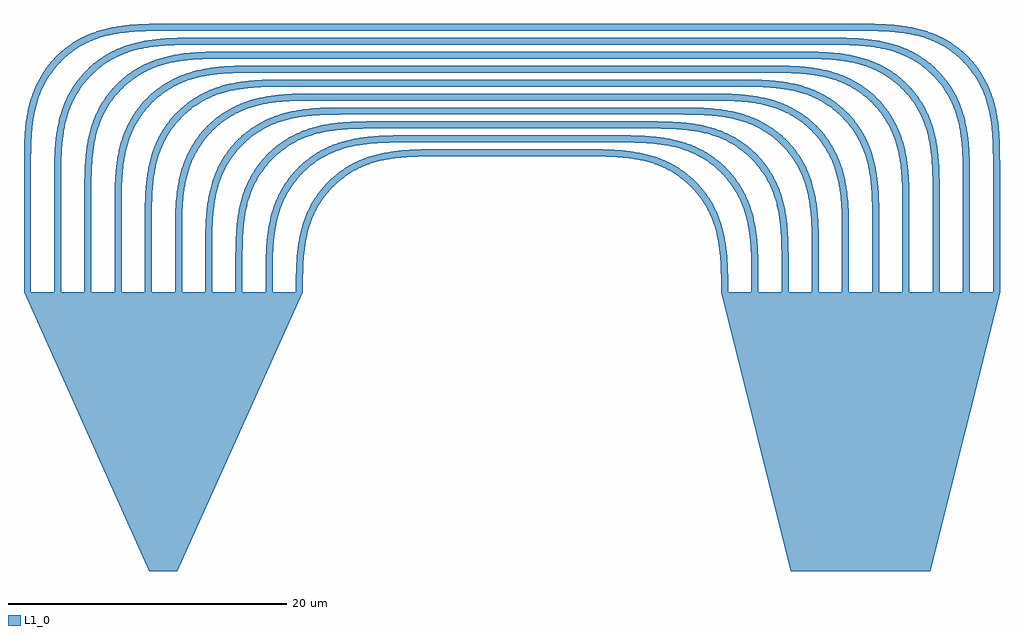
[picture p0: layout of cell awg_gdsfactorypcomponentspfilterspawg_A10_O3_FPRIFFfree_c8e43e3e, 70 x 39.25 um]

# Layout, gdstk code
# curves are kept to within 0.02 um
from math import pi, radians
import gdstk
lib = gdstk.Library(unit=1e-6, precision=1e-09)
def R(c, l, rs):  # rectangles x0, y0, x1, y1
    for r in rs: c.add(gdstk.rectangle(r[:2], r[2:], *l))
def P(c, l, *ps):  # polygons
    for p in ps: c.add(gdstk.Polygon(p, *l))
L1_0 = (1, 0)

free_propagation_region_ = lib.new_cell('free_propagation_region_gdsfactorypcomponentspfilterspa_5ff2a5ce')
P(free_propagation_region_, L1_0, [(20,-10),(0,-1),(0,1),(20,10)])

c_free_propagation_region_ = lib.new_cell('free_propagation_region_gdsfactorypcomponentspfilterspa_e953b677')
P(c_free_propagation_region_, L1_0, [(20,-10),(0,-5),(0,5),(20,10)])

bend_euler_gdsfactorypco = lib.new_cell('bend_euler_gdsfactorypcomponentspbendspbend_euler_R10_A_335c8724')
P(bend_euler_gdsfactorypco, L1_0, [(0,-0.25),(0,0.25),(1.655,0.269),(2.881,0.353),(3.952,0.52),(4.99,0.806),(5.731,1.113),(6.431,1.505),(7.079,1.976),(7.575,2.425),(8.024,2.921),(8.495,3.569),(8.887,4.269),(9.194,5.01),(9.48,6.048),(9.647,7.119),(9.731,8.345),(9.75,10),(10.25,10),(10.235,8.468),(10.158,7.205),(10.023,6.224),(9.797,5.254),(9.457,4.312),(9.066,3.545),(8.5,2.715),(7.928,2.072),(7.285,1.5),(6.455,0.934),(5.688,0.543),(4.746,0.203),(3.776,-0.023),(2.795,-0.158),(1.532,-0.235)])

straight_gdsfactorypcomp = lib.new_cell('straight_gdsfactorypcomponentspwaveguidespstraight_L9_N_09b87fdc')
R(straight_gdsfactorypcomp, L1_0, [(0,-0.25,9,0.25)])

c_straight_gdsfactorypcomp = lib.new_cell('straight_gdsfactorypcomponentspwaveguidespstraight_L49p_83262ea0')
R(c_straight_gdsfactorypcomp, L1_0, [(0,-0.25,49.5,0.25)])

c_straight_gdsfactorypcomp_ = lib.new_cell('straight_gdsfactorypcomponentspwaveguidespstraight_L8_N_5033ddb2')
R(c_straight_gdsfactorypcomp_, L1_0, [(0,-0.25,8,0.25)])

c_straight_gdsfactorypcomp__ = lib.new_cell('straight_gdsfactorypcomponentspwaveguidespstraight_L45p_bdf181a4')
R(c_straight_gdsfactorypcomp__, L1_0, [(0,-0.25,45.166,0.25)])

c_straight_gdsfactorypcomp___ = lib.new_cell('straight_gdsfactorypcomponentspwaveguidespstraight_L7_N_5487c68f')
R(c_straight_gdsfactorypcomp___, L1_0, [(0,-0.25,7,0.25)])

c_straight_gdsfactorypcomp____ = lib.new_cell('straight_gdsfactorypcomponentspwaveguidespstraight_L40p_67f97490')
R(c_straight_gdsfactorypcomp____, L1_0, [(0,-0.25,40.834,0.25)])

c_straight_gdsfactorypcomp_____ = lib.new_cell('straight_gdsfactorypcomponentspwaveguidespstraight_L6_N_702d0d58')
R(c_straight_gdsfactorypcomp_____, L1_0, [(0,-0.25,6,0.25)])

c_straight_gdsfactorypcomp______ = lib.new_cell('straight_gdsfactorypcomponentspwaveguidespstraight_L36p_da8cfc5e')
R(c_straight_gdsfactorypcomp______, L1_0, [(0,-0.25,36.5,0.25)])

c_straight_gdsfactorypcomp_______ = lib.new_cell('straight_gdsfactorypcomponentspwaveguidespstraight_L5_N_f5657628')
R(c_straight_gdsfactorypcomp_______, L1_0, [(0,-0.25,5,0.25)])

c_straight_gdsfactorypcomp________ = lib.new_cell('straight_gdsfactorypcomponentspwaveguidespstraight_L32p_807addbc')
R(c_straight_gdsfactorypcomp________, L1_0, [(0,-0.25,32.166,0.25)])

c_straight_gdsfactorypcomp_________ = lib.new_cell('straight_gdsfactorypcomponentspwaveguidespstraight_L4_N_78530ce6')
R(c_straight_gdsfactorypcomp_________, L1_0, [(0,-0.25,4,0.25)])

c_straight_gdsfactorypcomp__________ = lib.new_cell('straight_gdsfactorypcomponentspwaveguidespstraight_L27p_9630dc72')
R(c_straight_gdsfactorypcomp__________, L1_0, [(0,-0.25,27.834,0.25)])

c_straight_gdsfactorypcomp___________ = lib.new_cell('straight_gdsfactorypcomponentspwaveguidespstraight_L3_N_76e47883')
R(c_straight_gdsfactorypcomp___________, L1_0, [(0,-0.25,3,0.25)])

c_straight_gdsfactorypcomp____________ = lib.new_cell('straight_gdsfactorypcomponentspwaveguidespstraight_L23p_827597b2')
R(c_straight_gdsfactorypcomp____________, L1_0, [(0,-0.25,23.5,0.25)])

c_straight_gdsfactorypcomp_____________ = lib.new_cell('straight_gdsfactorypcomponentspwaveguidespstraight_L2_N_2c0c825e')
R(c_straight_gdsfactorypcomp_____________, L1_0, [(0,-0.25,2,0.25)])

c_straight_gdsfactorypcomp______________ = lib.new_cell('straight_gdsfactorypcomponentspwaveguidespstraight_L19p_1504ef4a')
R(c_straight_gdsfactorypcomp______________, L1_0, [(0,-0.25,19.166,0.25)])

c_straight_gdsfactorypcomp_______________ = lib.new_cell('straight_gdsfactorypcomponentspwaveguidespstraight_L1_N_47b601f1')
R(c_straight_gdsfactorypcomp_______________, L1_0, [(0,-0.25,1,0.25)])

c_straight_gdsfactorypcomp________________ = lib.new_cell('straight_gdsfactorypcomponentspwaveguidespstraight_L14p_193ce81f')
R(c_straight_gdsfactorypcomp________________, L1_0, [(0,-0.25,14.834,0.25)])

c_straight_gdsfactorypcomp_________________ = lib.new_cell('straight_gdsfactorypcomponentspwaveguidespstraight_L10p_da623fc9')
R(c_straight_gdsfactorypcomp_________________, L1_0, [(0,-0.25,10.5,0.25)])

awg_gdsfactorypcomponent = lib.new_cell('awg_gdsfactorypcomponentspfilterspawg_A10_O3_FPRIFFfree_c8e43e3e')
awg_gdsfactorypcomponent.add(gdstk.Reference(free_propagation_region_, (0,0), rotation=pi/2))
awg_gdsfactorypcomponent.add(gdstk.Reference(c_free_propagation_region_, (50,0), rotation=pi/2))
awg_gdsfactorypcomponent.add(gdstk.Reference(bend_euler_gdsfactorypco, (49.75,39), x_reflection=True))
awg_gdsfactorypcomponent.add(gdstk.Reference(straight_gdsfactorypcomp, (59.75,20), rotation=pi/2))
awg_gdsfactorypcomponent.add(gdstk.Reference(bend_euler_gdsfactorypco, (-9.75,29), rotation=pi/2, x_reflection=True))
awg_gdsfactorypcomponent.add(gdstk.Reference(c_straight_gdsfactorypcomp, (49.75,39), rotation=pi))
awg_gdsfactorypcomponent.add(gdstk.Reference(straight_gdsfactorypcomp, (-9.75,29), rotation=3*pi/2))
awg_gdsfactorypcomponent.add(gdstk.Reference(bend_euler_gdsfactorypco, (47.583,38), x_reflection=True))
awg_gdsfactorypcomponent.add(gdstk.Reference(c_straight_gdsfactorypcomp_, (57.583,20), rotation=pi/2))
awg_gdsfactorypcomponent.add(gdstk.Reference(bend_euler_gdsfactorypco, (-7.583,28), rotation=pi/2, x_reflection=True))
awg_gdsfactorypcomponent.add(gdstk.Reference(c_straight_gdsfactorypcomp__, (47.583,38), rotation=pi))
awg_gdsfactorypcomponent.add(gdstk.Reference(c_straight_gdsfactorypcomp_, (-7.583,28), rotation=3*pi/2))
awg_gdsfactorypcomponent.add(gdstk.Reference(bend_euler_gdsfactorypco, (45.417,37), x_reflection=True))
awg_gdsfactorypcomponent.add(gdstk.Reference(c_straight_gdsfactorypcomp___, (55.417,20), rotation=pi/2))
awg_gdsfactorypcomponent.add(gdstk.Reference(bend_euler_gdsfactorypco, (-5.417,27), rotation=pi/2, x_reflection=True))
awg_gdsfactorypcomponent.add(gdstk.Reference(c_straight_gdsfactorypcomp____, (45.417,37), rotation=pi))
awg_gdsfactorypcomponent.add(gdstk.Reference(c_straight_gdsfactorypcomp___, (-5.417,27), rotation=3*pi/2))
awg_gdsfactorypcomponent.add(gdstk.Reference(bend_euler_gdsfactorypco, (43.25,36), x_reflection=True))
awg_gdsfactorypcomponent.add(gdstk.Reference(c_straight_gdsfactorypcomp_____, (53.25,20), rotation=pi/2))
awg_gdsfactorypcomponent.add(gdstk.Reference(bend_euler_gdsfactorypco, (-3.25,26), rotation=pi/2, x_reflection=True))
awg_gdsfactorypcomponent.add(gdstk.Reference(c_straight_gdsfactorypcomp______, (43.25,36), rotation=pi))
awg_gdsfactorypcomponent.add(gdstk.Reference(c_straight_gdsfactorypcomp_____, (-3.25,26), rotation=3*pi/2))
awg_gdsfactorypcomponent.add(gdstk.Reference(bend_euler_gdsfactorypco, (41.083,35), x_reflection=True))
awg_gdsfactorypcomponent.add(gdstk.Reference(c_straight_gdsfactorypcomp_______, (51.083,20), rotation=pi/2))
awg_gdsfactorypcomponent.add(gdstk.Reference(bend_euler_gdsfactorypco, (-1.083,25), rotation=pi/2, x_reflection=True))
awg_gdsfactorypcomponent.add(gdstk.Reference(c_straight_gdsfactorypcomp________, (41.083,35), rotation=pi))
awg_gdsfactorypcomponent.add(gdstk.Reference(c_straight_gdsfactorypcomp_______, (-1.083,25), rotation=3*pi/2))
awg_gdsfactorypcomponent.add(gdstk.Reference(bend_euler_gdsfactorypco, (38.917,34), x_reflection=True))
awg_gdsfactorypcomponent.add(gdstk.Reference(c_straight_gdsfactorypcomp_________, (48.917,20), rotation=pi/2))
awg_gdsfactorypcomponent.add(gdstk.Reference(bend_euler_gdsfactorypco, (1.083,24), rotation=pi/2, x_reflection=True))
awg_gdsfactorypcomponent.add(gdstk.Reference(c_straight_gdsfactorypcomp__________, (38.917,34), rotation=pi))
awg_gdsfactorypcomponent.add(gdstk.Reference(c_straight_gdsfactorypcomp_________, (1.083,24), rotation=3*pi/2))
awg_gdsfactorypcomponent.add(gdstk.Reference(bend_euler_gdsfactorypco, (36.75,33), x_reflection=True))
awg_gdsfactorypcomponent.add(gdstk.Reference(c_straight_gdsfactorypcomp___________, (46.75,20), rotation=pi/2))
awg_gdsfactorypcomponent.add(gdstk.Reference(bend_euler_gdsfactorypco, (3.25,23), rotation=pi/2, x_reflection=True))
awg_gdsfactorypcomponent.add(gdstk.Reference(c_straight_gdsfactorypcomp____________, (36.75,33), rotation=pi))
awg_gdsfactorypcomponent.add(gdstk.Reference(c_straight_gdsfactorypcomp___________, (3.25,23), rotation=3*pi/2))
awg_gdsfactorypcomponent.add(gdstk.Reference(bend_euler_gdsfactorypco, (34.583,32), x_reflection=True))
awg_gdsfactorypcomponent.add(gdstk.Reference(c_straight_gdsfactorypcomp_____________, (44.583,20), rotation=pi/2))
awg_gdsfactorypcomponent.add(gdstk.Reference(bend_euler_gdsfactorypco, (5.417,22), rotation=pi/2, x_reflection=True))
awg_gdsfactorypcomponent.add(gdstk.Reference(c_straight_gdsfactorypcomp______________, (34.583,32), rotation=pi))
awg_gdsfactorypcomponent.add(gdstk.Reference(c_straight_gdsfactorypcomp_____________, (5.417,22), rotation=3*pi/2))
awg_gdsfactorypcomponent.add(gdstk.Reference(bend_euler_gdsfactorypco, (32.417,31), x_reflection=True))
awg_gdsfactorypcomponent.add(gdstk.Reference(c_straight_gdsfactorypcomp_______________, (42.417,20), rotation=pi/2))
awg_gdsfactorypcomponent.add(gdstk.Reference(bend_euler_gdsfactorypco, (7.583,21), rotation=pi/2, x_reflection=True))
awg_gdsfactorypcomponent.add(gdstk.Reference(c_straight_gdsfactorypcomp________________, (32.417,31), rotation=pi))
awg_gdsfactorypcomponent.add(gdstk.Reference(c_straight_gdsfactorypcomp_______________, (7.583,21), rotation=3*pi/2))
awg_gdsfactorypcomponent.add(gdstk.Reference(bend_euler_gdsfactorypco, (30.25,30), x_reflection=True))
awg_gdsfactorypcomponent.add(gdstk.Reference(bend_euler_gdsfactorypco, (9.75,20), rotation=pi/2, x_reflection=True))
awg_gdsfactorypcomponent.add(gdstk.Reference(c_straight_gdsfactorypcomp_________________, (30.25,30), rotation=pi))

lib.write_gds('awg_gdsfactorypcomponentspfilterspawg_A10_O3_FPRIFFfree_c8e43e3e.gds')
